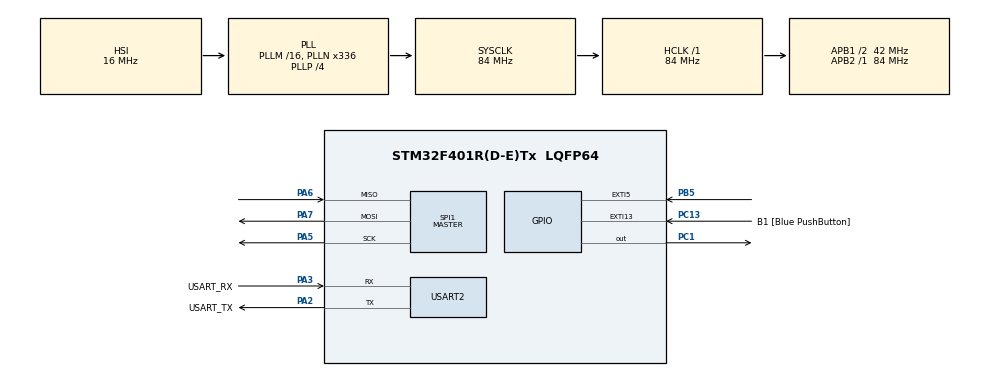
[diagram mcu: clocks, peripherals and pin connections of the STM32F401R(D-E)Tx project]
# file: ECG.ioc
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Mcu.Family=STM32F4
Mcu.Name=STM32F401R(D-E)Tx
Mcu.Package=LQFP64
NVIC.EXTI9_5_IRQn=true\:0\:0\:false\:false\:true\:true\:true\:true
NVIC.PriorityGroup=NVIC_PRIORITYGROUP_0
PA13.GPIO_Label=TMS
PA13.Mode=Serial_Wire
PA13.Signal=SYS_JTMS-SWDIO
PA14.GPIO_Label=TCK
PA14.Mode=Serial_Wire
PA14.Signal=SYS_JTCK-SWCLK
PA2.GPIO_Label=USART_TX
PA2.GPIO_Mode=GPIO_MODE_AF_PP
PA2.GPIO_PuPd=GPIO_NOPULL
PA2.GPIO_Speed=GPIO_SPEED_FREQ_LOW
PA2.Mode=Asynchronous
PA2.Signal=USART2_TX
PA3.GPIO_Label=USART_RX
PA3.GPIO_Mode=GPIO_MODE_AF_PP
PA3.GPIO_PuPd=GPIO_NOPULL
PA3.GPIO_Speed=GPIO_SPEED_FREQ_LOW
PA3.Mode=Asynchronous
PA3.Signal=USART2_RX
PA5.Mode=Full_Duplex_Master
PA5.Signal=SPI1_SCK
PA6.Mode=Full_Duplex_Master
PA6.Signal=SPI1_MISO
PA7.Mode=Full_Duplex_Master
PA7.Signal=SPI1_MOSI
PB3.GPIO_Label=SWO
PB3.Signal=SYS_JTDO-SWO
PB5.GPIO_ModeDefaultEXTI=GPIO_MODE_IT_FALLING
PB5.Signal=GPXTI5
PC1.Signal=GPIO_Output
PC13-ANTI_TAMP.GPIO_Label=B1 [Blue PushButton]
PC13-ANTI_TAMP.GPIO_ModeDefaultEXTI=GPIO_MODE_IT_FALLING
PC13-ANTI_TAMP.GPIO_PuPd=GPIO_NOPULL
PC13-ANTI_TAMP.Signal=GPXTI13
PC14-OSC32_IN.Mode=LSE-External-Oscillator
PC14-OSC32_IN.Signal=RCC_OSC32_IN
PC15-OSC32_OUT.Mode=LSE-External-Oscillator
PC15-OSC32_OUT.Signal=RCC_OSC32_OUT
PH0\ -\ OSC_IN.Mode=HSE-External-Clock-Source
PH0\ -\ OSC_IN.Signal=RCC_OSC_IN
PH1\ -\ OSC_OUT.Mode=HSE-External-Clock-Source
PH1\ -\ OSC_OUT.Signal=RCC_OSC_OUT
ProjectManager.HeapSize=0x200
ProjectManager.StackSize=0x400
ProjectManager.TargetToolchain=STM32CubeIDE
RCC.48MHZClocksFreq_Value=48000000
RCC.AHBFreq_Value=84000000
RCC.APB1CLKDivider=RCC_HCLK_DIV2
RCC.APB1Freq_Value=42000000
RCC.APB1TimFreq_Value=84000000
RCC.APB2Freq_Value=84000000
RCC.APB2TimFreq_Value=84000000
RCC.CortexFreq_Value=84000000
RCC.HCLKFreq_Value=84000000
RCC.HSE_VALUE=8000000
RCC.HSI_VALUE=16000000
RCC.PLLN=336
RCC.PLLP=RCC_PLLP_DIV4
RCC.PLLQ=7
RCC.SYSCLKFreq_VALUE=84000000
RCC.SYSCLKSource=RCC_SYSCLKSOURCE_PLLCLK
RCC.VCOOutputFreq_Value=336000000
SPI1.BaudRatePrescaler=SPI_BAUDRATEPRESCALER_16
SPI1.Direction=SPI_DIRECTION_2LINES
SPI1.Mode=SPI_MODE_MASTER
SPI1.VirtualType=VM_MASTER
USART2.VirtualMode=VM_ASYNC
board=NUCLEO-F401RE

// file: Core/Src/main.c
/* USER CODE BEGIN Header */
/**
  ******************************************************************************
  * @file           : main.c
  * @brief          : Main program body
  ******************************************************************************
  * @attention
  *
  * Copyright (c) 2024 STMicroelectronics.
  * All rights reserved.
  *
  * This software is licensed under terms that can be found in the LICENSE file
  * in the root directory of this software component.
  * If no LICENSE file comes with this software, it is provided AS-IS.
  *
  ******************************************************************************
  */
/* USER CODE END Header */
#include "main.h"

/* USER CODE BEGIN Includes */
#include <stdio.h>
#include <string.h>
#include "max30003.h"
/* USER CODE END Includes */

/* USER CODE END PD */

SPI_HandleTypeDef hspi1;

UART_HandleTypeDef huart2;

/* USER CODE BEGIN PV */
/* Private variables ---------------------------------------------------------*/
volatile uint8_t ecg_data_ready = 0;
char ecg_str[10];
/* USER CODE END PV */

void SystemClock_Config(void);
static void MX_GPIO_Init(void);
static void MX_USART2_UART_Init(void);
static void MX_SPI1_Init(void);
/* USER CODE BEGIN PFP */

/* Function prototypes -------------------------------------------------------*/

/* USER CODE END PFP */

/* USER CODE BEGIN 0 */

/**
 * @brief EXTI interrupt callback function for GPIO_PIN_5.
 */
void HAL_GPIO_EXTI_Callback(uint16_t GPIO_Pin) {
    if (GPIO_Pin == GPIO_PIN_5) {
        ecg_data_ready = 1;
    }
}

/* USER CODE END 0 */

int main(void)
{

  /* MCU Configuration--------------------------------------------------------*/

  /* Reset of all peripherals, Initializes the Flash interface and the Systick. */
  HAL_Init();

  /* Configure the system clock */
  SystemClock_Config();

  /* Initialize all configured peripherals */
  MX_GPIO_Init();
  MX_USART2_UART_Init();
  MX_SPI1_Init();
  /* USER CODE BEGIN 2 */

  // Initializzation MAX30003
      MAX30003_Init(&hspi1, GPIOC, GPIO_PIN_1);
      uint8_t ecg_data[49] = {0};

  /* USER CODE END 2 */

  /* Infinite loop */
  /* USER CODE BEGIN WHILE */
  while (1)
  {
      if (ecg_data_ready) {
          ecg_data_ready = 0;
          MAX30003_ReadECG(ecg_data);

          for (int i = 1; i < 49; i += 3) {
              int16_t ecg_value = (int16_t)((ecg_data[i] << 8) | ecg_data[i + 1]);
              snprintf(ecg_str, sizeof(ecg_str), "%d\r\n", ecg_value);
              HAL_UART_Transmit(&huart2, (uint8_t *)ecg_str, strlen(ecg_str), 1000);
          }
      }

    /* USER CODE END WHILE */

  }
}

void SystemClock_Config(void)
{
  RCC_OscInitTypeDef RCC_OscInitStruct = {0};
  RCC_ClkInitTypeDef RCC_ClkInitStruct = {0};

  /** Configure the main internal regulator output voltage
  */
  __HAL_RCC_PWR_CLK_ENABLE();
  __HAL_PWR_VOLTAGESCALING_CONFIG(PWR_REGULATOR_VOLTAGE_SCALE2);

  /** Initializes the RCC Oscillators according to the specified parameters
  * in the RCC_OscInitTypeDef structure.
  */
  RCC_OscInitStruct.OscillatorType = RCC_OSCILLATORTYPE_HSI;
  RCC_OscInitStruct.HSIState = RCC_HSI_ON;
  RCC_OscInitStruct.HSICalibrationValue = RCC_HSICALIBRATION_DEFAULT;
  RCC_OscInitStruct.PLL.PLLState = RCC_PLL_ON;
  RCC_OscInitStruct.PLL.PLLSource = RCC_PLLSOURCE_HSI;
  RCC_OscInitStruct.PLL.PLLM = 16;
  RCC_OscInitStruct.PLL.PLLN = 336;
  RCC_OscInitStruct.PLL.PLLP = RCC_PLLP_DIV4;
  RCC_OscInitStruct.PLL.PLLQ = 7;
  if (HAL_RCC_OscConfig(&RCC_OscInitStruct) != HAL_OK)
  {
    Error_Handler();
  }

  /** Initializes the CPU, AHB and APB buses clocks
  */
  RCC_ClkInitStruct.ClockType = RCC_CLOCKTYPE_HCLK|RCC_CLOCKTYPE_SYSCLK
                              |RCC_CLOCKTYPE_PCLK1|RCC_CLOCKTYPE_PCLK2;
  RCC_ClkInitStruct.SYSCLKSource = RCC_SYSCLKSOURCE_PLLCLK;
  RCC_ClkInitStruct.AHBCLKDivider = RCC_SYSCLK_DIV1;
  RCC_ClkInitStruct.APB1CLKDivider = RCC_HCLK_DIV2;
  RCC_ClkInitStruct.APB2CLKDivider = RCC_HCLK_DIV1;

  if (HAL_RCC_ClockConfig(&RCC_ClkInitStruct, FLASH_LATENCY_2) != HAL_OK)
  {
    Error_Handler();
  }
}

static void MX_SPI1_Init(void)
{

  /* SPI1 parameter configuration*/
  hspi1.Instance = SPI1;
  hspi1.Init.Mode = SPI_MODE_MASTER;
  hspi1.Init.Direction = SPI_DIRECTION_2LINES;
  hspi1.Init.DataSize = SPI_DATASIZE_8BIT;
  hspi1.Init.CLKPolarity = SPI_POLARITY_LOW;
  hspi1.Init.CLKPhase = SPI_PHASE_1EDGE;
  hspi1.Init.NSS = SPI_NSS_SOFT;
  hspi1.Init.BaudRatePrescaler = SPI_BAUDRATEPRESCALER_16;
  hspi1.Init.FirstBit = SPI_FIRSTBIT_MSB;
  hspi1.Init.TIMode = SPI_TIMODE_DISABLE;
  hspi1.Init.CRCCalculation = SPI_CRCCALCULATION_DISABLE;
  hspi1.Init.CRCPolynomial = 10;
  if (HAL_SPI_Init(&hspi1) != HAL_OK)
  {
    Error_Handler();
  }

}

static void MX_USART2_UART_Init(void)
{

  huart2.Instance = USART2;
  huart2.Init.BaudRate = 115200;
  huart2.Init.WordLength = UART_WORDLENGTH_8B;
  huart2.Init.StopBits = UART_STOPBITS_1;
  huart2.Init.Parity = UART_PARITY_NONE;
  huart2.Init.Mode = UART_MODE_TX_RX;
  huart2.Init.HwFlowCtl = UART_HWCONTROL_NONE;
  huart2.Init.OverSampling = UART_OVERSAMPLING_16;
  if (HAL_UART_Init(&huart2) != HAL_OK)
  {
    Error_Handler();
  }

}

static void MX_GPIO_Init(void)
{
  GPIO_InitTypeDef GPIO_InitStruct = {0};

  /* GPIO Ports Clock Enable */
  __HAL_RCC_GPIOC_CLK_ENABLE();
  __HAL_RCC_GPIOH_CLK_ENABLE();
  __HAL_RCC_GPIOA_CLK_ENABLE();
  __HAL_RCC_GPIOB_CLK_ENABLE();

  /*Configure GPIO pin Output Level */
  HAL_GPIO_WritePin(GPIOC, GPIO_PIN_1, GPIO_PIN_RESET);

  /*Configure GPIO pin : B1_Pin */
  GPIO_InitStruct.Pin = B1_Pin;
  GPIO_InitStruct.Mode = GPIO_MODE_IT_FALLING;
  GPIO_InitStruct.Pull = GPIO_NOPULL;
  HAL_GPIO_Init(B1_GPIO_Port, &GPIO_InitStruct);

  /*Configure GPIO pin : PC1 */
  GPIO_InitStruct.Pin = GPIO_PIN_1;
  GPIO_InitStruct.Mode = GPIO_MODE_OUTPUT_PP;
  GPIO_InitStruct.Pull = GPIO_NOPULL;
  GPIO_InitStruct.Speed = GPIO_SPEED_FREQ_LOW;
  HAL_GPIO_Init(GPIOC, &GPIO_InitStruct);

  /*Configure GPIO pin : PB5 */
  GPIO_InitStruct.Pin = GPIO_PIN_5;
  GPIO_InitStruct.Mode = GPIO_MODE_IT_FALLING;
  GPIO_InitStruct.Pull = GPIO_NOPULL;
  HAL_GPIO_Init(GPIOB, &GPIO_InitStruct);

  /* EXTI interrupt init*/
  HAL_NVIC_SetPriority(EXTI9_5_IRQn, 0, 0);
  HAL_NVIC_EnableIRQ(EXTI9_5_IRQn);

}

void Error_Handler(void)
{
  __disable_irq();
  while (1)
  {
  }
}
